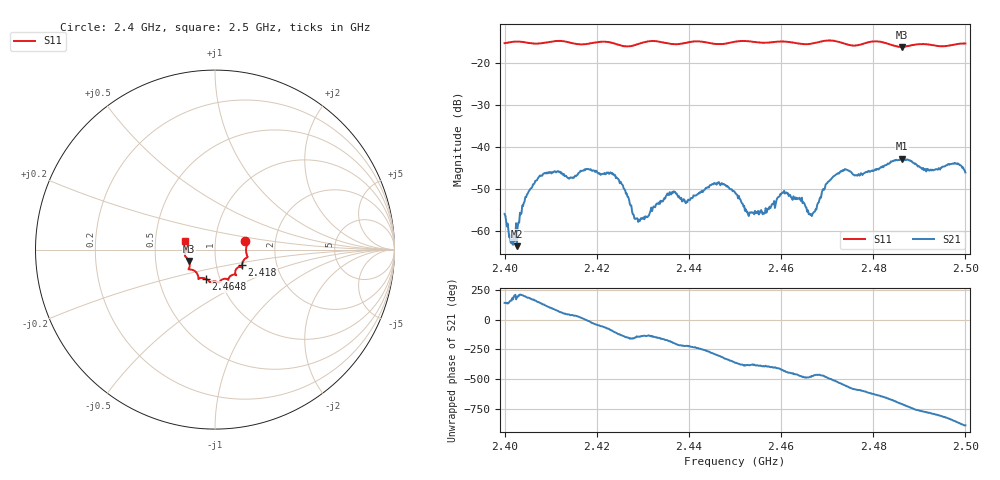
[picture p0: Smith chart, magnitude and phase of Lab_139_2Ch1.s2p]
# Hz S RI R 50
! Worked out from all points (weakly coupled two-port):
!   601 points, 2.4 GHz to 2.5 GHz, reference 50 ohm
!   highest |S21| = -42.77 dB at 2.4862 GHz (marker M1); lowest = -63.7 dB at 2.4027 GHz (marker M2)
!   lowest |S11| = -16.0 dB at 2.4862 GHz (marker M3), VSWR 1.38, Z = 37.1 - j4.83 ohm
!   |S11| at or under -10 dB: start of sweep to end of sweep
!   S12 and S22 are empty: the file has one direction only
!   S11 on the Smith chart (normalised r, x): 2.4 GHz: 1.40, +0.13; 2.418 GHz: 1.33, -0.23; 2.4648 GHz: 0.86, -0.29; 2.5 GHz: 0.71, +0.07
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2.4e9  0.1689 0.0459  -0.0012 0.00103  0 0  0 0
2.401333e9  0.1759 0.0389  -0.000665 0.000258  0 0  0 0
2.402667e9  0.1799 0.0345  -0.000649 -5.04e-05  0 0  0 0
2.404333e9  0.1781 0.0245  -0.00217 -0.000552  0 0  0 0
2.4075e9  0.1732 -0.00984  -0.00353 0.00265  0 0  0 0
2.416667e9  0.1549 -0.0682  0.00502 0.00113  0 0  0 0
2.418e9  0.1502 -0.0833  0.00536 -0.000962  0 0  0 0
2.424167e9  0.141 -0.0963  -0.00153 -0.00395  0 0  0 0
2.428833e9  0.1122 -0.1272  -0.00112 -0.000836  0 0  0 0
2.433333e9  0.1168 -0.1413  -0.00186 -0.000949  0 0  0 0
2.439667e9  0.0762 -0.1614  -0.00168 0.0014  0 0  0 0
2.446e9  0.053 -0.1625  0.00155 0.00318  0 0  0 0
2.45e9  0.025 -0.1805  0.00287 -8.08e-05  0 0  0 0
2.453e9  0.0185 -0.1833  0.00139 -0.000558  0 0  0 0
2.4565e9  -0.00557 -0.1772  0.00139 -0.000823  0 0  0 0
2.460667e9  -0.0298 -0.1807  0.000909 -0.00285  0 0  0 0
2.464833e9  -0.0511 -0.1629  -0.00103 -0.00193  0 0  0 0
2.466667e9  -0.0714 -0.1576  -0.000565 -0.00138  0 0  0 0
2.471833e9  -0.092 -0.1612  -0.00423 -0.0019  0 0  0 0
2.483333e9  -0.1419 -0.0959  0.00336 0.00535  0 0  0 0
2.486167e9  -0.1446 -0.0635  0.00706 0.00172  0 0  0 0
2.5e9  -0.1669 0.0472  -0.00478 -0.00129  0 0  0 0
